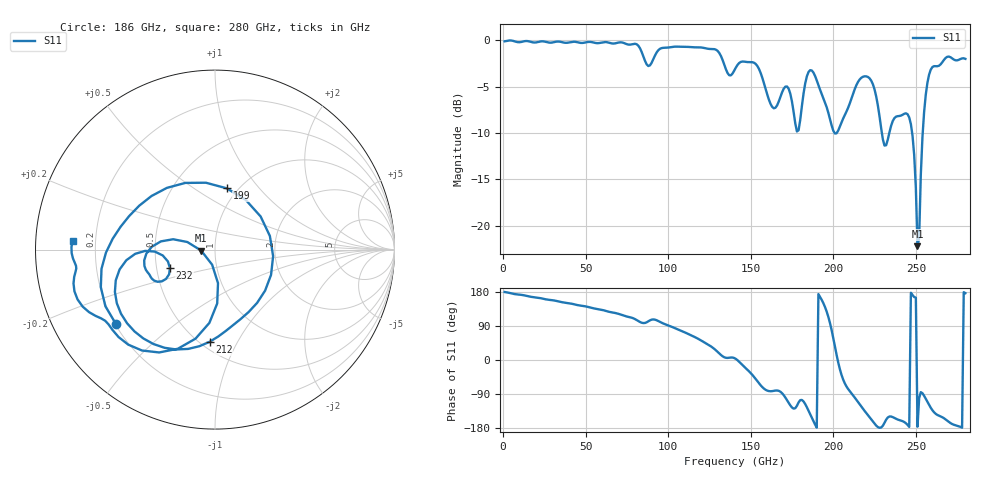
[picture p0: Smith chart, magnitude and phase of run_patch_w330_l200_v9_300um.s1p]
#  Hz  S  RI  R  50
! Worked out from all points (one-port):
!   280 points, 1 GHz to 280 GHz, reference 50 ohm
!   lowest |S11| = -22.2 dB at 251 GHz (marker M1), VSWR 1.17, Z = 42.8 - j0.454 ohm
!   |S11| at or under -10 dB: 200.8 GHz to 202.1 GHz (1.296 GHz wide, 0.644 % of centre); 229.4 GHz to 233.9 GHz (4.492 GHz wide, 1.94 % of centre); 247.8 GHz to 254.2 GHz (6.414 GHz wide, 2.56 % of centre)
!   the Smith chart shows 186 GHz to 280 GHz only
!   S11 on the Smith chart (normalised r, x): 186 GHz: 0.20, -0.32; 199 GHz: 0.89, +0.69; 212 GHz: 0.55, -0.78; 232 GHz: 0.59, -0.13; 280 GHz: 0.11, +0.03
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1e9  -0.9875 0.00931
3.6e10  -0.8645 0.4533
7.1e10  -0.4922 0.8422
8.9e10  -0.1846 0.7087
1.06e11  0.1514 0.9119
1.29e11  0.8037 0.3819
1.41e11  0.7114 0.036
1.49e11  0.661 -0.3807
1.55e11  0.3374 -0.6147
1.71e11  -0.0887 -0.5555
1.76e11  -0.2543 -0.3217
1.81e11  -0.1172 -0.4252
1.86e11  -0.5525 -0.4135
1.92e11  -0.5266 0.1264
1.99e11  0.0658 0.3412
2.03e11  0.3239 -0.0367
2.11e11  0.0182 -0.4841
2.12e11  -0.0304 -0.5138
2.22e11  -0.5469 -0.2991
2.27e11  -0.4445 -0.0235
2.32e11  -0.2509 -0.1035
2.46e11  -0.3826 -0.0229
2.49e11  -0.233 0.0577
2.51e11  -0.0773 -0.00527
2.55e11  -0.0313 -0.4083
2.58e11  -0.3111 -0.5731
2.69e11  -0.7658 -0.2775
2.8e11  -0.7926 0.0504
